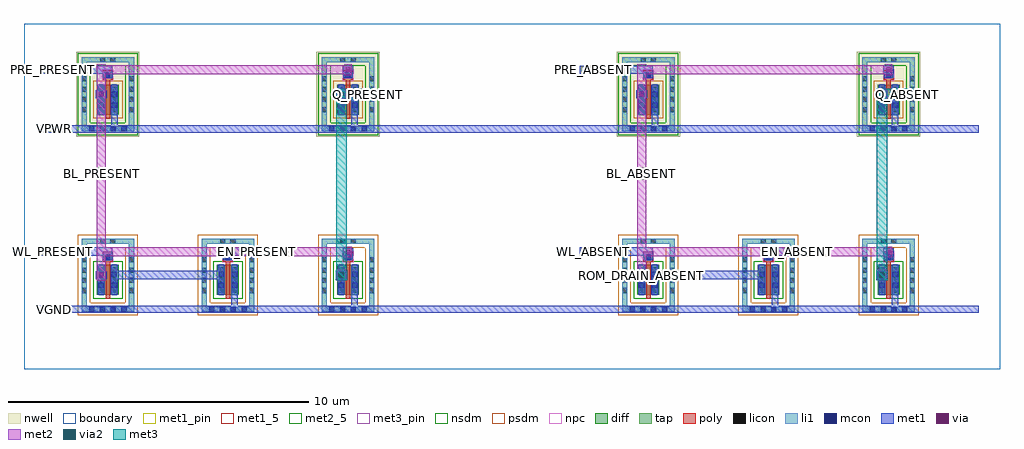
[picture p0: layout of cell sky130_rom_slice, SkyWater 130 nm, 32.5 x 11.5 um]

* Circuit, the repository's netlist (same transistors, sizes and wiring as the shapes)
* NGSPICE file created from sky130_rom_slice.ext - technology: sky130A

.subckt sky130_rom_slice VGND VPWR WL_PRESENT EN_PRESENT PRE_PRESENT Q_PRESENT WL_ABSENT
+ EN_ABSENT PRE_ABSENT Q_ABSENT
X0 VGND EN_ABSENT NROW_ABSENT/S VGND sky130_fd_pr__nfet_01v8 ad=0.29 pd=2.58 as=0.29 ps=2.58 w=1 l=0.15
X1 VPWR PRE_ABSENT BL_ABSENT VPWR sky130_fd_pr__pfet_01v8 ad=0.29 pd=2.58 as=0.29 ps=2.58 w=1 l=0.15
X2 VPWR BL_PRESENT Q_PRESENT VPWR sky130_fd_pr__pfet_01v8 ad=1.16 pd=10.32 as=0.29 ps=2.58 w=1 l=0.15
X3 VPWR PRE_PRESENT BL_PRESENT VPWR sky130_fd_pr__pfet_01v8 ad=0 pd=0 as=0.29 ps=2.58 w=1 l=0.15
X4 NROW_PRESENT/S WL_PRESENT BL_PRESENT VGND sky130_fd_pr__nfet_01v8 ad=0.58 pd=5.16 as=0.29 ps=2.58 w=1 l=0.15
X5 VPWR BL_ABSENT Q_ABSENT VPWR sky130_fd_pr__pfet_01v8 ad=0 pd=0 as=0.29 ps=2.58 w=1 l=0.15
X6 VGND BL_PRESENT Q_PRESENT VGND sky130_fd_pr__nfet_01v8 ad=1.16 pd=10.32 as=0.29 ps=2.58 w=1 l=0.15
X7 VGND BL_ABSENT Q_ABSENT VGND sky130_fd_pr__nfet_01v8 ad=0 pd=0 as=0.29 ps=2.58 w=1 l=0.15
X8 VGND EN_PRESENT NROW_PRESENT/S VGND sky130_fd_pr__nfet_01v8 ad=0 pd=0 as=0 ps=0 w=1 l=0.15
X9 NROW_ABSENT/S WL_ABSENT ROM_DRAIN_ABSENT VGND sky130_fd_pr__nfet_01v8 ad=0.58 pd=5.16 as=0.29 ps=2.58 w=1 l=0.15
.ends

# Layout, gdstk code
import gdstk
lib = gdstk.Library(unit=1e-6, precision=1e-09)
def R(c, l, rs):  # rectangles x0, y0, x1, y1
    for r in rs: c.add(gdstk.rectangle(r[:2], r[2:], *l))
def A(c, l, x, y, w, h, nx, ny, dx, dy):  # array of equal rectangles
    R(c, l, [(x+i*dx, y+j*dy, x+i*dx+w, y+j*dy+h) for i in range(nx) for j in range(ny)])
nwell = (64, 20)
diff = (65, 20)
tap = (65, 44)
poly = (66, 20)
licon = (66, 44)
li1 = (67, 20)
mcon = (67, 44)
met1_5 = (68, 5)
met1_pin = (68, 16)
met1 = (68, 20)
via = (68, 44)
met2_5 = (69, 5)
met2 = (69, 20)
via2 = (69, 44)
met3_pin = (70, 16)
met3 = (70, 20)
nsdm = (93, 44)
psdm = (94, 20)
npc = (95, 20)
boundary = (235, 4)

sky130_fd_pr__nfet_01v8_ = lib.new_cell('sky130_fd_pr__nfet_01v8_MJJGZY')
R(sky130_fd_pr__nfet_01v8_, diff, [(-0.365,-0.655,0.365,0.345)])
R(sky130_fd_pr__nfet_01v8_, tap, [(-0.875,-1.215,0.875,-1.045), (-0.875,-1.045,-0.705,1.045), (0.705,-1.045,0.875,1.045), (-0.875,1.045,0.875,1.215)])
R(sky130_fd_pr__nfet_01v8_, poly, [(-0.075,-0.785,0.075,0.455), (-0.165,0.455,0.165,0.785)])
A(sky130_fd_pr__nfet_01v8_, licon, -0.875, -0.595, 0.17, 0.17, 1, 4, 0, 0.34)
A(sky130_fd_pr__nfet_01v8_, licon, 0.705, -0.595, 0.17, 0.17, 1, 4, 0, 0.34)
A(sky130_fd_pr__nfet_01v8_, licon, -0.305, -0.58, 0.17, 0.17, 1, 3, 0, 0.34)
A(sky130_fd_pr__nfet_01v8_, licon, 0.135, -0.58, 0.17, 0.17, 1, 3, 0, 0.34)
R(sky130_fd_pr__nfet_01v8_, licon, [(-0.255,-1.215,-0.085,-1.045), (0.085,-1.215,0.255,-1.045), (-0.085,0.535,0.085,0.705), (-0.255,1.045,-0.085,1.215), (0.085,1.045,0.255,1.215)])
R(sky130_fd_pr__nfet_01v8_, li1, [(-0.875,-1.215,0.875,-1.045), (-0.875,-1.045,-0.705,1.045), (0.705,-1.045,0.875,1.045), (-0.305,-0.675,-0.135,0.365), (0.135,-0.675,0.305,0.365), (-0.165,0.535,0.165,0.705), (-0.875,1.045,0.875,1.215)])
A(sky130_fd_pr__nfet_01v8_, mcon, -0.625, -1.215, 0.17, 0.17, 4, 1, 0.36, 0)
R(sky130_fd_pr__nfet_01v8_, mcon, [(-0.305,-0.42,-0.135,-0.25), (0.135,-0.42,0.305,-0.25), (-0.305,-0.06,-0.135,0.11), (0.135,-0.06,0.305,0.11), (-0.085,0.535,0.085,0.705)])
R(sky130_fd_pr__nfet_01v8_, met1, [(-0.765,-1.245,0.765,-1.015), (-0.335,-0.655,-0.105,0.345), (0.105,-0.655,0.335,0.345), (-0.145,0.505,0.145,0.735)])
R(sky130_fd_pr__nfet_01v8_, nsdm, [(-0.49,-0.78,0.49,0.47)])
R(sky130_fd_pr__nfet_01v8_, psdm, [(-1,-1.34,1,-0.92), (-1,-0.92,-0.58,0.92), (0.58,-0.92,1,0.92), (-1,0.92,1,1.34)])
R(sky130_fd_pr__nfet_01v8_, npc, [(-0.185,0.435,0.185,0.805)])
R(sky130_fd_pr__nfet_01v8_, boundary, [(-0.79,-1.13,0.79,1.13)])
sky130_fd_pr__nfet_01v8_.add(gdstk.Label('B', (0,-1.13), layer=67, texttype=5))
sky130_fd_pr__nfet_01v8_.add(gdstk.Label('D', (-0.22,-0.155), layer=67, texttype=5))
sky130_fd_pr__nfet_01v8_.add(gdstk.Label('S', (0.22,-0.155), layer=67, texttype=5))
sky130_fd_pr__nfet_01v8_.add(gdstk.Label('G', (0,0.62), layer=67, texttype=5))

sky130_fd_pr__pfet_01v8_ = lib.new_cell('sky130_fd_pr__pfet_01v8_WWEVP9')
R(sky130_fd_pr__pfet_01v8_, nwell, [(-1.055,-1.42,1.055,1.42)])
R(sky130_fd_pr__pfet_01v8_, diff, [(-0.365,-0.68,0.365,0.32)])
R(sky130_fd_pr__pfet_01v8_, tap, [(-0.875,-1.24,0.875,-1.07), (-0.875,-1.07,-0.705,1.07), (0.705,-1.07,0.875,1.07), (-0.875,1.07,0.875,1.24)])
R(sky130_fd_pr__pfet_01v8_, poly, [(-0.075,-0.81,0.075,0.475), (-0.165,0.475,0.165,0.805)])
A(sky130_fd_pr__pfet_01v8_, licon, -0.305, -0.605, 0.17, 0.17, 1, 3, 0, 0.34)
A(sky130_fd_pr__pfet_01v8_, licon, 0.135, -0.605, 0.17, 0.17, 1, 3, 0, 0.34)
A(sky130_fd_pr__pfet_01v8_, licon, -0.875, -0.595, 0.17, 0.17, 1, 4, 0, 0.34)
A(sky130_fd_pr__pfet_01v8_, licon, 0.705, -0.595, 0.17, 0.17, 1, 4, 0, 0.34)
R(sky130_fd_pr__pfet_01v8_, licon, [(-0.255,-1.24,-0.085,-1.07), (0.085,-1.24,0.255,-1.07), (-0.085,0.555,0.085,0.725), (-0.255,1.07,-0.085,1.24), (0.085,1.07,0.255,1.24)])
R(sky130_fd_pr__pfet_01v8_, li1, [(-0.875,-1.24,0.875,-1.07), (-0.875,-1.07,-0.705,1.07), (0.705,-1.07,0.875,1.07), (-0.305,-0.7,-0.135,0.34), (0.135,-0.7,0.305,0.34), (-0.165,0.555,0.165,0.725), (-0.875,1.07,0.875,1.24)])
A(sky130_fd_pr__pfet_01v8_, mcon, -0.625, -1.24, 0.17, 0.17, 4, 1, 0.36, 0)
R(sky130_fd_pr__pfet_01v8_, mcon, [(-0.305,-0.445,-0.135,-0.275), (0.135,-0.445,0.305,-0.275), (-0.305,-0.085,-0.135,0.085), (0.135,-0.085,0.305,0.085), (-0.085,0.555,0.085,0.725)])
R(sky130_fd_pr__pfet_01v8_, met1, [(-0.765,-1.27,0.765,-1.04), (-0.335,-0.68,-0.105,0.32), (0.105,-0.68,0.335,0.32), (-0.145,0.525,0.145,0.755)])
R(sky130_fd_pr__pfet_01v8_, nsdm, [(-1,-1.365,1,-0.945), (-1,-0.945,-0.58,0.945), (0.58,-0.945,1,0.945), (-1,0.945,1,1.365)])
R(sky130_fd_pr__pfet_01v8_, psdm, [(-0.49,-0.805,0.49,0.445)])
R(sky130_fd_pr__pfet_01v8_, npc, [(-0.185,0.455,0.185,0.825)])
R(sky130_fd_pr__pfet_01v8_, boundary, [(-0.79,-1.155,0.79,1.155)])
sky130_fd_pr__pfet_01v8_.add(gdstk.Label('B', (0,-1.155), layer=67, texttype=5))
sky130_fd_pr__pfet_01v8_.add(gdstk.Label('D', (-0.22,-0.18), layer=67, texttype=5))
sky130_fd_pr__pfet_01v8_.add(gdstk.Label('S', (0.22,-0.18), layer=67, texttype=5))
sky130_fd_pr__pfet_01v8_.add(gdstk.Label('G', (0,0.64), layer=67, texttype=5))

sky130_rom_slice = lib.new_cell('sky130_rom_slice')
R(sky130_rom_slice, met1_5, [(20.47,3.02,20.67,3.25)])
R(sky130_rom_slice, met1_pin, [(0.6,1.9,1.4,2.1), (0.55,3.82,1.35,4.02), (7.3,3.82,8.2,4.02), (18.55,3.82,19.35,4.02), (25.3,3.82,26.2,4.02), (0.6,7.9,1.4,8.1), (0.55,9.87,1.35,10.07), (18.55,9.87,19.35,10.07)])
R(sky130_rom_slice, met1, [(0.5,1.88,31.8,2.12), (6.9,2.12,7.12,3.45), (10.9,2.12,11.12,3.45), (24.9,2.12,25.12,3.45), (28.9,2.12,29.12,3.45), (2.42,2.99,2.72,3), (2.95,2.99,6.69,3.28), (20.42,2.99,20.72,3.28), (20.95,2.99,24.69,3.28), (2.39,3,2.75,3.26), (10.39,3,10.75,3.26), (28.39,3,28.75,3.26), (2.42,3.26,2.72,3.28), (10.61,3.775,10.97,4.035), (28.61,3.775,28.97,4.035), (0.5,3.78,2.94,4.06), (6.64,3.78,8.3,4.06), (18.5,3.78,20.94,4.06), (24.64,3.78,26.3,4.06), (0.5,7.88,31.8,8.12), (2.9,8.12,3.12,9.45), (10.9,8.12,11.12,9.45), (20.9,8.12,21.12,9.45), (28.9,8.12,29.12,9.45), (2.39,9.025,2.75,9.285), (10.39,9.025,10.75,9.285), (20.39,9.025,20.75,9.285), (28.39,9.025,28.75,9.285), (0.5,9.84,2.94,10.11), (18.5,9.84,20.94,10.11), (10.61,9.845,10.97,10.105), (28.61,9.845,28.97,10.105)])
R(sky130_rom_slice, via, [(2.495,3.055,2.645,3.205), (10.495,3.055,10.645,3.205), (28.495,3.055,28.645,3.205), (10.715,3.83,10.865,3.98), (28.715,3.83,28.865,3.98), (2.495,9.08,2.645,9.23), (10.495,9.08,10.645,9.23), (20.495,9.08,20.645,9.23), (28.495,9.08,28.645,9.23), (10.715,9.9,10.865,10.05), (28.715,9.9,28.865,10.05)])
R(sky130_rom_slice, met2_5, [(2.47,6.3,2.67,6.7), (20.47,6.3,20.67,6.7)])
R(sky130_rom_slice, met2, [(10.43,2.94,10.71,3.32), (28.43,2.94,28.71,3.32), (2.42,2.95,2.72,3.755), (20.42,2.95,20.72,3.755), (10.66,3.725,10.92,3.755), (28.66,3.725,28.92,3.755), (2.42,3.755,10.92,4.055), (20.42,3.755,28.92,4.055), (2.42,4.055,2.72,9.825), (10.66,4.055,10.92,4.085), (20.42,4.055,20.72,9.825), (28.66,4.055,28.92,4.085), (10.43,8.965,10.71,9.345), (28.43,8.965,28.71,9.345), (10.66,9.795,10.92,9.825), (28.66,9.795,28.92,9.825), (2.42,9.825,10.92,10.125), (20.42,9.825,28.92,10.125), (2.42,10.125,2.72,10.15), (10.66,10.125,10.92,10.155), (20.42,10.125,20.72,10.15), (28.66,10.125,28.92,10.155)])
R(sky130_rom_slice, via2, [(10.47,3.03,10.67,3.23), (28.47,3.03,28.67,3.23), (10.47,9.055,10.67,9.255), (28.47,9.055,28.67,9.255)])
R(sky130_rom_slice, met3_pin, [(11.25,9.04,11.6,9.28), (29.25,9.04,29.6,9.28)])
R(sky130_rom_slice, met3, [(10.38,2.965,10.76,3.295), (28.38,2.965,28.76,3.295), (10.4,3.295,10.74,8.99), (28.4,3.295,28.74,8.99), (10.38,8.99,11.65,9.32), (28.38,8.99,29.65,9.32), (10.4,9.32,11.65,9.33), (28.4,9.32,29.65,9.33)])
R(sky130_rom_slice, boundary, [(0,0,32.5,11.5)])
sky130_rom_slice.add(gdstk.Reference(sky130_fd_pr__nfet_01v8_, (2.79,3.13)))
sky130_rom_slice.add(gdstk.Reference(sky130_fd_pr__pfet_01v8_, (2.79,9.155)))
sky130_rom_slice.add(gdstk.Reference(sky130_fd_pr__nfet_01v8_, (6.79,3.13)))
sky130_rom_slice.add(gdstk.Reference(sky130_fd_pr__nfet_01v8_, (10.79,3.13)))
sky130_rom_slice.add(gdstk.Reference(sky130_fd_pr__pfet_01v8_, (10.79,9.155)))
sky130_rom_slice.add(gdstk.Reference(sky130_fd_pr__nfet_01v8_, (20.79,3.13)))
sky130_rom_slice.add(gdstk.Reference(sky130_fd_pr__pfet_01v8_, (20.79,9.155)))
sky130_rom_slice.add(gdstk.Reference(sky130_fd_pr__nfet_01v8_, (24.79,3.13)))
sky130_rom_slice.add(gdstk.Reference(sky130_fd_pr__nfet_01v8_, (28.79,3.13)))
sky130_rom_slice.add(gdstk.Reference(sky130_fd_pr__pfet_01v8_, (28.79,9.155)))
sky130_rom_slice.add(gdstk.Label('BL_PRESENT', (2.57,6.5), layer=69, texttype=5))
sky130_rom_slice.add(gdstk.Label('BL_ABSENT', (20.57,6.5), layer=69, texttype=5))
sky130_rom_slice.add(gdstk.Label('ROM_DRAIN_ABSENT', (20.57,3.135), layer=68, texttype=5))
sky130_rom_slice.add(gdstk.Label('VGND', (1,2), layer=68, texttype=5))
sky130_rom_slice.add(gdstk.Label('VPWR', (1,8), layer=68, texttype=5))
sky130_rom_slice.add(gdstk.Label('WL_PRESENT', (0.95,3.92), layer=68, texttype=5))
sky130_rom_slice.add(gdstk.Label('EN_PRESENT', (7.75,3.92), layer=68, texttype=5))
sky130_rom_slice.add(gdstk.Label('PRE_PRESENT', (0.95,9.97), layer=68, texttype=5))
sky130_rom_slice.add(gdstk.Label('Q_PRESENT', (11.425,9.16), layer=70, texttype=5))
sky130_rom_slice.add(gdstk.Label('WL_ABSENT', (18.95,3.92), layer=68, texttype=5))
sky130_rom_slice.add(gdstk.Label('EN_ABSENT', (25.75,3.92), layer=68, texttype=5))
sky130_rom_slice.add(gdstk.Label('PRE_ABSENT', (18.95,9.97), layer=68, texttype=5))
sky130_rom_slice.add(gdstk.Label('Q_ABSENT', (29.425,9.16), layer=70, texttype=5))

lib.write_gds('sky130_rom_slice.gds')
